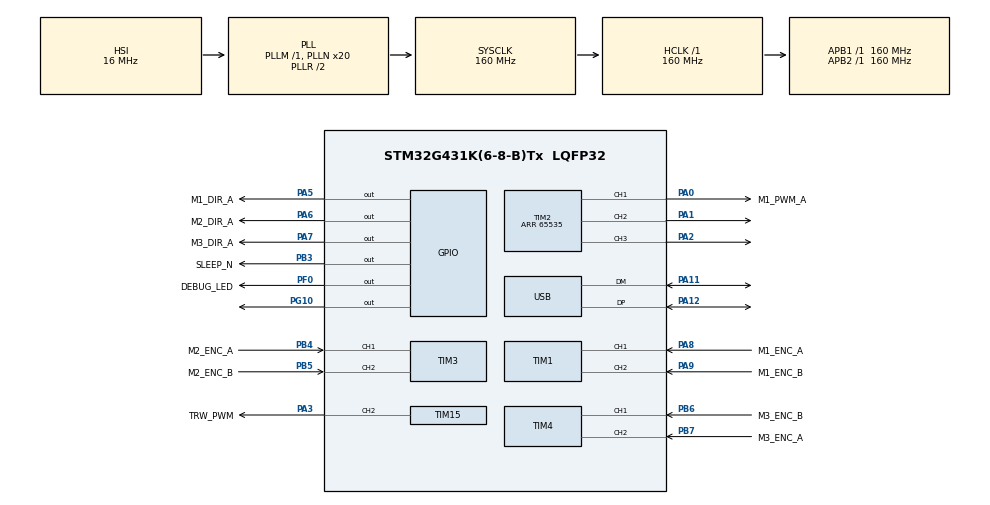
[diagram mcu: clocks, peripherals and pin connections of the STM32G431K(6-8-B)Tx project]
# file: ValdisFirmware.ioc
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Mcu.Family=STM32G4
Mcu.Name=STM32G431K(6-8-B)Tx
Mcu.Package=LQFP32
NVIC.PriorityGroup=NVIC_PRIORITYGROUP_4
NVIC.TIM6_DAC_IRQn=true\:0\:0\:false\:false\:true\:true\:true\:true
NVIC.USB_LP_IRQn=true\:0\:0\:false\:false\:true\:false\:true\:true
PA0.GPIO_Label=M1_PWM_A
PA0.Signal=S_TIM2_CH1
PA1.Signal=S_TIM2_CH2
PA11.Mode=Device
PA11.Signal=USB_DM
PA12.Mode=Device
PA12.Signal=USB_DP
PA13.Mode=Serial_Wire
PA13.Signal=SYS_JTMS-SWDIO
PA14.Mode=Serial_Wire
PA14.Signal=SYS_JTCK-SWCLK
PA2.Signal=S_TIM2_CH3
PA3.GPIO_Label=TRW_PWM
PA3.Signal=S_TIM15_CH2
PA5.GPIO_Label=M1_DIR_A
PA5.Signal=GPIO_Output
PA6.GPIO_Label=M2_DIR_A
PA6.Signal=GPIO_Output
PA7.GPIO_Label=M3_DIR_A
PA7.Signal=GPIO_Output
PA8.GPIO_Label=M1_ENC_A
PA8.Signal=S_TIM1_CH1
PA9.GPIO_Label=M1_ENC_B
PA9.Signal=S_TIM1_CH2
PB3.GPIO_Label=SLEEP_N
PB3.Signal=GPIO_Output
PB4.GPIO_Label=M2_ENC_A
PB4.Signal=S_TIM3_CH1
PB5.GPIO_Label=M2_ENC_B
PB5.Signal=S_TIM3_CH2
PB6.GPIO_Label=M3_ENC_B
PB6.Signal=S_TIM4_CH1
PB7.GPIO_Label=M3_ENC_A
PB7.Signal=S_TIM4_CH2
PF0-OSC_IN.GPIO_Label=DEBUG_LED
PF0-OSC_IN.Signal=GPIO_Output
PG10-NRST.Signal=GPIO_Output
ProjectManager.HeapSize=0x200
ProjectManager.StackSize=0x400
ProjectManager.TargetToolchain=STM32CubeIDE
RCC.ADC12Freq_Value=160000000
RCC.AHBFreq_Value=160000000
RCC.APB1Freq_Value=160000000
RCC.APB1TimFreq_Value=160000000
RCC.APB2Freq_Value=160000000
RCC.APB2TimFreq_Value=160000000
RCC.CK48CLockSelection=RCC_USBCLKSOURCE_HSI48
RCC.CortexFreq_Value=160000000
RCC.EXTERNAL_CLOCK_VALUE=12288000
RCC.HCLKFreq_Value=160000000
RCC.HSE_VALUE=8000000
RCC.HSI48_VALUE=48000000
RCC.HSI_VALUE=16000000
RCC.LSE_VALUE=32768
RCC.PLLN=20
RCC.PLLQ=RCC_PLLQ_DIV4
RCC.SYSCLKFreq_VALUE=160000000
RCC.SYSCLKSource=RCC_SYSCLKSOURCE_PLLCLK
RCC.USBFreq_Value=48000000
RCC.VCOOutputFreq_Value=320000000
SH.S_TIM15_CH2.0=TIM15_CH2,PWM Generation2 CH2
SH.S_TIM1_CH1.0=TIM1_CH1,Encoder_Interface
SH.S_TIM1_CH2.0=TIM1_CH2,Encoder_Interface
SH.S_TIM2_CH1.0=TIM2_CH1,PWM Generation1 CH1
SH.S_TIM2_CH2.0=TIM2_CH2,PWM Generation2 CH2
SH.S_TIM2_CH3.0=TIM2_CH3,PWM Generation3 CH3
SH.S_TIM3_CH1.0=TIM3_CH1,Encoder_Interface
SH.S_TIM3_CH2.0=TIM3_CH2,Encoder_Interface
SH.S_TIM4_CH1.0=TIM4_CH1,Encoder_Interface
SH.S_TIM4_CH2.0=TIM4_CH2,Encoder_Interface
TIM1.EncoderMode=TIM_ENCODERMODE_TI12
TIM15.Channel-PWM\ Generation2\ CH2=TIM_CHANNEL_2
TIM15.PeriodNoDither=63999
TIM15.Prescaler=49
TIM2.Channel-PWM\ Generation1\ CH1=TIM_CHANNEL_1
TIM2.Channel-PWM\ Generation2\ CH2=TIM_CHANNEL_2
TIM2.Channel-PWM\ Generation3\ CH3=TIM_CHANNEL_3
TIM2.OCPolarity_1=TIM_OCPOLARITY_HIGH
TIM2.OCPolarity_2=TIM_OCPOLARITY_HIGH
TIM2.OCPolarity_3=TIM_OCPOLARITY_HIGH
TIM2.PeriodNoDither=65535
TIM3.EncoderMode=TIM_ENCODERMODE_TI12
TIM4.EncoderMode=TIM_ENCODERMODE_TI12
TIM6.PeriodNoDither=63999
TIM6.Prescaler=24
USB_DEVICE.CLASS_NAME_FS=CDC
USB_DEVICE.VirtualMode=Cdc
USB_DEVICE.VirtualModeFS=Cdc_FS
VP_TIM6_VS_ClockSourceINT.Mode=Enable_Timer
VP_USB_DEVICE_VS_USB_DEVICE_CDC_FS.Mode=CDC_FS
board=custom

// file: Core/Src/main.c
/* USER CODE BEGIN Header */
/**
  ******************************************************************************
  * @file           : main.c
  * @brief          : Main program body
  ******************************************************************************
  * @attention
  *
  * Copyright (c) 2022 STMicroelectronics.
  * All rights reserved.
  *
  * This software is licensed under terms that can be found in the LICENSE file
  * in the root directory of this software component.
  * If no LICENSE file comes with this software, it is provided AS-IS.
  *
  ******************************************************************************
  */
/* USER CODE END Header */
#include "main.h"
#include "usb_device.h"

/* USER CODE BEGIN Includes */
#include "usbd_cdc_if.h"
/* USER CODE END Includes */

TIM_HandleTypeDef htim1;
TIM_HandleTypeDef htim2;
TIM_HandleTypeDef htim3;
TIM_HandleTypeDef htim4;
TIM_HandleTypeDef htim6;
TIM_HandleTypeDef htim15;

void SystemClock_Config(void);
static void MX_GPIO_Init(void);
static void MX_TIM1_Init(void);
static void MX_TIM2_Init(void);
static void MX_TIM3_Init(void);
static void MX_TIM4_Init(void);
static void MX_TIM15_Init(void);
static void MX_TIM6_Init(void);

/* USER CODE BEGIN 0 */

typedef struct MotorInfo{
	int16_t speed;
	int16_t position;
	int32_t integraal;
	int16_t p_gain;
	int16_t i_gain;
	int32_t newspeed;
	int16_t positionChange;
} MotorInfo ;

typedef struct Command {
	int16_t speed1;
	int16_t speed2;
	int16_t speed3;
	uint16_t throwerSpeed;
	uint16_t delimiter;
} Command;

typedef struct Feedback {
	int16_t speed1;
	int16_t speed2;
	int16_t speed3;
	uint16_t delimiter;
} Feedback;

MotorInfo M1 = {
		.speed = 0,
		.position = 0,
		.integraal = 0,
		.p_gain = 500,
		.i_gain = 0,
		.newspeed = 0,
		.positionChange = 0
};

MotorInfo M2 = {
		.speed = 0,
		.position = 0,
		.integraal = 0,
		.p_gain = 500,
		.i_gain = 0,
		.newspeed = 0,
		.positionChange = 0
	};

MotorInfo M3 = {
		.speed = 0,
		.position = 0,
		.integraal = 0,
		.p_gain = 500,
		.i_gain = 0,
		.newspeed = 0,
		.positionChange = 0
	};

	Command command = {.speed1 = 0, .speed2 = 0, .speed3 = 0, .throwerSpeed = 0, .delimiter = 0};

	 Feedback feedback = { // (1)
	        .speed1 = 0,
	        .speed2 = 0,
	        .speed3 = 0,
	        .delimiter = 0xAAAA
	    };
	volatile uint8_t isCommandReceived = 0;

	int32_t clmp(int32_t val, int32_t minVal, int32_t maxVal){
		if(val>maxVal){
			return maxVal;
		}
		if(val<minVal){
			return minVal;
		}
		return val;
	};

	int32_t PID(MotorInfo* control, int16_t position){
		control->positionChange = position - control->position;
		control->position = position;
		int32_t error = control->speed -control->positionChange;
		control->integraal += error;
		clmp(control->integraal, -70000 / control->i_gain, 70000 / control->i_gain);

		return control->p_gain * error + control->i_gain * control->integraal;
	}

	void CDC_On_Receive(uint8_t* buffer, uint32_t* length) {
	  if (*length == sizeof(Command)) {
	    memcpy(&command, buffer, sizeof(Command));
	    if (command.delimiter == 0xAAAA) {
	      isCommandReceived = 1;
	    }
	  }
	}

	void toggle_nSleep(){
		HAL_GPIO_WritePin(SLEEP_N_GPIO_Port,SLEEP_N_Pin,0);
		for(int i =0;i<350;i++){
			__asm("nop");
		}
		HAL_GPIO_WritePin(SLEEP_N_GPIO_Port,SLEEP_N_Pin,1);
	}
	void HAL_TIM_PeriodElapsedCallback(TIM_HandleTypeDef *htim6) {
			int16_t pos;

			int32_t pwmValue;

			pos = (int16_t)TIM1->CNT;
			pwmValue = PID(&M1, pos);
			HAL_GPIO_WritePin(M1_DIR_A_GPIO_Port, M1_DIR_A_Pin, (pwmValue < 0) ? GPIO_PIN_SET : GPIO_PIN_RESET);
			TIM2->CCR1 =(uint16_t)clmp((pwmValue < 0) ? -pwmValue : pwmValue, 0 , 65535);

			pos = (int16_t)TIM3->CNT;
			pwmValue = PID(&M2, pos);
			HAL_GPIO_WritePin(M2_DIR_A_GPIO_Port, M2_DIR_A_Pin, (pwmValue < 0) ? GPIO_PIN_SET : GPIO_PIN_RESET);
			TIM2->CCR2 =(uint16_t)clmp((pwmValue < 0) ? -pwmValue : pwmValue, 0 , 65535);

			pos = (int16_t)TIM4->CNT;
			pwmValue = PID(&M3, pos);
			HAL_GPIO_WritePin(M3_DIR_A_GPIO_Port, M3_DIR_A_Pin, (pwmValue < 0) ? GPIO_PIN_SET : GPIO_PIN_RESET);
			TIM2->CCR3 =(uint16_t)clmp((pwmValue < 0) ? -pwmValue : pwmValue, 0 , 65535);

		}
/* USER CODE END 0 */

int main(void)
{

  /* MCU Configuration--------------------------------------------------------*/

  /* Reset of all peripherals, Initializes the Flash interface and the Systick. */
  HAL_Init();

  /* Configure the system clock */
  SystemClock_Config();

  /* Initialize all configured peripherals */
  MX_GPIO_Init();
  MX_USB_Device_Init();
  MX_TIM1_Init();
  MX_TIM2_Init();
  MX_TIM3_Init();
  MX_TIM4_Init();
  MX_TIM15_Init();
  MX_TIM6_Init();
  /* USER CODE BEGIN 2 */

    HAL_TIM_PWM_Start(&htim2, TIM_CHANNEL_1);
    HAL_TIM_PWM_Start(&htim2, TIM_CHANNEL_2);
    HAL_TIM_PWM_Start(&htim2, TIM_CHANNEL_3);

    HAL_TIM_PWM_Start(&htim15, TIM_CHANNEL_2);

    TIM2->CCR1 = 0;
    TIM2->CCR2 = 0;
    TIM2->CCR3 = 0;
    TIM15->CCR2 = 0;

    toggle_nSleep();

    HAL_TIM_Encoder_Start(&htim1, TIM_CHANNEL_1 | TIM_CHANNEL_2);
    HAL_TIM_Encoder_Start(&htim3, TIM_CHANNEL_1 | TIM_CHANNEL_2);
    HAL_TIM_Encoder_Start(&htim4, TIM_CHANNEL_1 | TIM_CHANNEL_2);

        Feedback feedback = {
        	        .speed1 = 0,
        	        .speed2 = 0,
        	        .speed3 = 0,
        	        .delimiter = 0xAAAA
        	    };

    HAL_TIM_Base_Start_IT(&htim6);

  /* USER CODE END 2 */

  /* Infinite loop */
  while (1)
  {

    /* USER CODE BEGIN 3 */

  if (isCommandReceived) {
		isCommandReceived = 0;
		toggle_nSleep();
		HAL_GPIO_TogglePin(DEBUG_LED_GPIO_Port, DEBUG_LED_Pin);

		M1.speed = command.speed1;
		M2.speed = command.speed2;
		M3.speed = command.speed3;

		TIM15->CCR2 = command.throwerSpeed;

		feedback.speed1 = M1.positionChange;
		feedback.speed2 = M2.positionChange;
		feedback.speed3 = M3.positionChange;

		CDC_Transmit_FS(&feedback, sizeof(feedback));
	  }

	}

  /* USER CODE END 3 */
}

void SystemClock_Config(void)
{
  RCC_OscInitTypeDef RCC_OscInitStruct = {0};
  RCC_ClkInitTypeDef RCC_ClkInitStruct = {0};

  /** Configure the main internal regulator output voltage
  */
  HAL_PWREx_ControlVoltageScaling(PWR_REGULATOR_VOLTAGE_SCALE1_BOOST);

  /** Initializes the RCC Oscillators according to the specified parameters
  * in the RCC_OscInitTypeDef structure.
  */
  RCC_OscInitStruct.OscillatorType = RCC_OSCILLATORTYPE_HSI|RCC_OSCILLATORTYPE_HSI48;
  RCC_OscInitStruct.HSIState = RCC_HSI_ON;
  RCC_OscInitStruct.HSICalibrationValue = RCC_HSICALIBRATION_DEFAULT;
  RCC_OscInitStruct.HSI48State = RCC_HSI48_ON;
  RCC_OscInitStruct.PLL.PLLState = RCC_PLL_ON;
  RCC_OscInitStruct.PLL.PLLSource = RCC_PLLSOURCE_HSI;
  RCC_OscInitStruct.PLL.PLLM = RCC_PLLM_DIV1;
  RCC_OscInitStruct.PLL.PLLN = 20;
  RCC_OscInitStruct.PLL.PLLP = RCC_PLLP_DIV2;
  RCC_OscInitStruct.PLL.PLLQ = RCC_PLLQ_DIV4;
  RCC_OscInitStruct.PLL.PLLR = RCC_PLLR_DIV2;
  if (HAL_RCC_OscConfig(&RCC_OscInitStruct) != HAL_OK)
  {
    Error_Handler();
  }

  /** Initializes the CPU, AHB and APB buses clocks
  */
  RCC_ClkInitStruct.ClockType = RCC_CLOCKTYPE_HCLK|RCC_CLOCKTYPE_SYSCLK
                              |RCC_CLOCKTYPE_PCLK1|RCC_CLOCKTYPE_PCLK2;
  RCC_ClkInitStruct.SYSCLKSource = RCC_SYSCLKSOURCE_PLLCLK;
  RCC_ClkInitStruct.AHBCLKDivider = RCC_SYSCLK_DIV1;
  RCC_ClkInitStruct.APB1CLKDivider = RCC_HCLK_DIV1;
  RCC_ClkInitStruct.APB2CLKDivider = RCC_HCLK_DIV1;

  if (HAL_RCC_ClockConfig(&RCC_ClkInitStruct, FLASH_LATENCY_4) != HAL_OK)
  {
    Error_Handler();
  }
}

static void MX_TIM1_Init(void)
{

  TIM_Encoder_InitTypeDef sConfig = {0};
  TIM_MasterConfigTypeDef sMasterConfig = {0};

  htim1.Instance = TIM1;
  htim1.Init.Prescaler = 0;
  htim1.Init.CounterMode = TIM_COUNTERMODE_UP;
  htim1.Init.Period = 65535;
  htim1.Init.ClockDivision = TIM_CLOCKDIVISION_DIV1;
  htim1.Init.RepetitionCounter = 0;
  htim1.Init.AutoReloadPreload = TIM_AUTORELOAD_PRELOAD_DISABLE;
  sConfig.EncoderMode = TIM_ENCODERMODE_TI12;
  sConfig.IC1Polarity = TIM_ICPOLARITY_RISING;
  sConfig.IC1Selection = TIM_ICSELECTION_DIRECTTI;
  sConfig.IC1Prescaler = TIM_ICPSC_DIV1;
  sConfig.IC1Filter = 0;
  sConfig.IC2Polarity = TIM_ICPOLARITY_RISING;
  sConfig.IC2Selection = TIM_ICSELECTION_DIRECTTI;
  sConfig.IC2Prescaler = TIM_ICPSC_DIV1;
  sConfig.IC2Filter = 0;
  if (HAL_TIM_Encoder_Init(&htim1, &sConfig) != HAL_OK)
  {
    Error_Handler();
  }
  sMasterConfig.MasterOutputTrigger = TIM_TRGO_RESET;
  sMasterConfig.MasterOutputTrigger2 = TIM_TRGO2_RESET;
  sMasterConfig.MasterSlaveMode = TIM_MASTERSLAVEMODE_DISABLE;
  if (HAL_TIMEx_MasterConfigSynchronization(&htim1, &sMasterConfig) != HAL_OK)
  {
    Error_Handler();
  }

}

static void MX_TIM2_Init(void)
{

  TIM_MasterConfigTypeDef sMasterConfig = {0};
  TIM_OC_InitTypeDef sConfigOC = {0};

  htim2.Instance = TIM2;
  htim2.Init.Prescaler = 0;
  htim2.Init.CounterMode = TIM_COUNTERMODE_UP;
  htim2.Init.Period = 65535;
  htim2.Init.ClockDivision = TIM_CLOCKDIVISION_DIV1;
  htim2.Init.AutoReloadPreload = TIM_AUTORELOAD_PRELOAD_DISABLE;
  if (HAL_TIM_PWM_Init(&htim2) != HAL_OK)
  {
    Error_Handler();
  }
  sMasterConfig.MasterOutputTrigger = TIM_TRGO_RESET;
  sMasterConfig.MasterSlaveMode = TIM_MASTERSLAVEMODE_DISABLE;
  if (HAL_TIMEx_MasterConfigSynchronization(&htim2, &sMasterConfig) != HAL_OK)
  {
    Error_Handler();
  }
  sConfigOC.OCMode = TIM_OCMODE_PWM1;
  sConfigOC.Pulse = 0;
  sConfigOC.OCPolarity = TIM_OCPOLARITY_HIGH;
  sConfigOC.OCFastMode = TIM_OCFAST_DISABLE;
  if (HAL_TIM_PWM_ConfigChannel(&htim2, &sConfigOC, TIM_CHANNEL_1) != HAL_OK)
  {
    Error_Handler();
  }
  if (HAL_TIM_PWM_ConfigChannel(&htim2, &sConfigOC, TIM_CHANNEL_2) != HAL_OK)
  {
    Error_Handler();
  }
  if (HAL_TIM_PWM_ConfigChannel(&htim2, &sConfigOC, TIM_CHANNEL_3) != HAL_OK)
  {
    Error_Handler();
  }
  HAL_TIM_MspPostInit(&htim2);

}

static void MX_TIM3_Init(void)
{

  TIM_Encoder_InitTypeDef sConfig = {0};
  TIM_MasterConfigTypeDef sMasterConfig = {0};

  htim3.Instance = TIM3;
  htim3.Init.Prescaler = 0;
  htim3.Init.CounterMode = TIM_COUNTERMODE_UP;
  htim3.Init.Period = 65535;
  htim3.Init.ClockDivision = TIM_CLOCKDIVISION_DIV1;
  htim3.Init.AutoReloadPreload = TIM_AUTORELOAD_PRELOAD_DISABLE;
  sConfig.EncoderMode = TIM_ENCODERMODE_TI12;
  sConfig.IC1Polarity = TIM_ICPOLARITY_RISING;
  sConfig.IC1Selection = TIM_ICSELECTION_DIRECTTI;
  sConfig.IC1Prescaler = TIM_ICPSC_DIV1;
  sConfig.IC1Filter = 0;
  sConfig.IC2Polarity = TIM_ICPOLARITY_RISING;
  sConfig.IC2Selection = TIM_ICSELECTION_DIRECTTI;
  sConfig.IC2Prescaler = TIM_ICPSC_DIV1;
  sConfig.IC2Filter = 0;
  if (HAL_TIM_Encoder_Init(&htim3, &sConfig) != HAL_OK)
  {
    Error_Handler();
  }
  sMasterConfig.MasterOutputTrigger = TIM_TRGO_RESET;
  sMasterConfig.MasterSlaveMode = TIM_MASTERSLAVEMODE_DISABLE;
  if (HAL_TIMEx_MasterConfigSynchronization(&htim3, &sMasterConfig) != HAL_OK)
  {
    Error_Handler();
  }

}

static void MX_TIM4_Init(void)
{

  TIM_Encoder_InitTypeDef sConfig = {0};
  TIM_MasterConfigTypeDef sMasterConfig = {0};

  htim4.Instance = TIM4;
  htim4.Init.Prescaler = 0;
  htim4.Init.CounterMode = TIM_COUNTERMODE_UP;
  htim4.Init.Period = 65535;
  htim4.Init.ClockDivision = TIM_CLOCKDIVISION_DIV1;
  htim4.Init.AutoReloadPreload = TIM_AUTORELOAD_PRELOAD_DISABLE;
  sConfig.EncoderMode = TIM_ENCODERMODE_TI12;
  sConfig.IC1Polarity = TIM_ICPOLARITY_RISING;
  sConfig.IC1Selection = TIM_ICSELECTION_DIRECTTI;
  sConfig.IC1Prescaler = TIM_ICPSC_DIV1;
  sConfig.IC1Filter = 0;
  sConfig.IC2Polarity = TIM_ICPOLARITY_RISING;
  sConfig.IC2Selection = TIM_ICSELECTION_DIRECTTI;
  sConfig.IC2Prescaler = TIM_ICPSC_DIV1;
  sConfig.IC2Filter = 0;
  if (HAL_TIM_Encoder_Init(&htim4, &sConfig) != HAL_OK)
  {
    Error_Handler();
  }
  sMasterConfig.MasterOutputTrigger = TIM_TRGO_RESET;
  sMasterConfig.MasterSlaveMode = TIM_MASTERSLAVEMODE_DISABLE;
  if (HAL_TIMEx_MasterConfigSynchronization(&htim4, &sMasterConfig) != HAL_OK)
  {
    Error_Handler();
  }

}

static void MX_TIM6_Init(void)
{

  TIM_MasterConfigTypeDef sMasterConfig = {0};

  htim6.Instance = TIM6;
  htim6.Init.Prescaler = 24;
  htim6.Init.CounterMode = TIM_COUNTERMODE_UP;
  htim6.Init.Period = 63999;
  htim6.Init.AutoReloadPreload = TIM_AUTORELOAD_PRELOAD_DISABLE;
  if (HAL_TIM_Base_Init(&htim6) != HAL_OK)
  {
    Error_Handler();
  }
  sMasterConfig.MasterOutputTrigger = TIM_TRGO_RESET;
  sMasterConfig.MasterSlaveMode = TIM_MASTERSLAVEMODE_DISABLE;
  if (HAL_TIMEx_MasterConfigSynchronization(&htim6, &sMasterConfig) != HAL_OK)
  {
    Error_Handler();
  }

}

static void MX_TIM15_Init(void)
{

  TIM_MasterConfigTypeDef sMasterConfig = {0};
  TIM_OC_InitTypeDef sConfigOC = {0};
  TIM_BreakDeadTimeConfigTypeDef sBreakDeadTimeConfig = {0};

  htim15.Instance = TIM15;
  htim15.Init.Prescaler = 49;
  htim15.Init.CounterMode = TIM_COUNTERMODE_UP;
  htim15.Init.Period = 63999;
  htim15.Init.ClockDivision = TIM_CLOCKDIVISION_DIV1;
  htim15.Init.RepetitionCounter = 0;
  htim15.Init.AutoReloadPreload = TIM_AUTORELOAD_PRELOAD_DISABLE;
  if (HAL_TIM_PWM_Init(&htim15) != HAL_OK)
  {
    Error_Handler();
  }
  sMasterConfig.MasterOutputTrigger = TIM_TRGO_RESET;
  sMasterConfig.MasterSlaveMode = TIM_MASTERSLAVEMODE_DISABLE;
  if (HAL_TIMEx_MasterConfigSynchronization(&htim15, &sMasterConfig) != HAL_OK)
  {
    Error_Handler();
  }
  sConfigOC.OCMode = TIM_OCMODE_PWM1;
  sConfigOC.Pulse = 0;
  sConfigOC.OCPolarity = TIM_OCPOLARITY_HIGH;
  sConfigOC.OCNPolarity = TIM_OCNPOLARITY_HIGH;
  sConfigOC.OCFastMode = TIM_OCFAST_DISABLE;
  sConfigOC.OCIdleState = TIM_OCIDLESTATE_RESET;
  sConfigOC.OCNIdleState = TIM_OCNIDLESTATE_RESET;
  if (HAL_TIM_PWM_ConfigChannel(&htim15, &sConfigOC, TIM_CHANNEL_2) != HAL_OK)
  {
    Error_Handler();
  }
  sBreakDeadTimeConfig.OffStateRunMode = TIM_OSSR_DISABLE;
  sBreakDeadTimeConfig.OffStateIDLEMode = TIM_OSSI_DISABLE;
  sBreakDeadTimeConfig.LockLevel = TIM_LOCKLEVEL_OFF;
  sBreakDeadTimeConfig.DeadTime = 0;
  sBreakDeadTimeConfig.BreakState = TIM_BREAK_DISABLE;
  sBreakDeadTimeConfig.BreakPolarity = TIM_BREAKPOLARITY_HIGH;
  sBreakDeadTimeConfig.BreakFilter = 0;
  sBreakDeadTimeConfig.AutomaticOutput = TIM_AUTOMATICOUTPUT_DISABLE;
  if (HAL_TIMEx_ConfigBreakDeadTime(&htim15, &sBreakDeadTimeConfig) != HAL_OK)
  {
    Error_Handler();
  }
  HAL_TIM_MspPostInit(&htim15);

}

static void MX_GPIO_Init(void)
{
  GPIO_InitTypeDef GPIO_InitStruct = {0};

  /* GPIO Ports Clock Enable */
  __HAL_RCC_GPIOF_CLK_ENABLE();
  __HAL_RCC_GPIOG_CLK_ENABLE();
  __HAL_RCC_GPIOA_CLK_ENABLE();
  __HAL_RCC_GPIOB_CLK_ENABLE();

  /*Configure GPIO pin Output Level */
  HAL_GPIO_WritePin(DEBUG_LED_GPIO_Port, DEBUG_LED_Pin, GPIO_PIN_RESET);

  /*Configure GPIO pin Output Level */
  HAL_GPIO_WritePin(GPIOG, GPIO_PIN_10, GPIO_PIN_RESET);

  /*Configure GPIO pin Output Level */
  HAL_GPIO_WritePin(GPIOA, M1_DIR_A_Pin|M2_DIR_A_Pin|M3_DIR_A_Pin, GPIO_PIN_RESET);

  /*Configure GPIO pin Output Level */
  HAL_GPIO_WritePin(SLEEP_N_GPIO_Port, SLEEP_N_Pin, GPIO_PIN_RESET);

  /*Configure GPIO pin : DEBUG_LED_Pin */
  GPIO_InitStruct.Pin = DEBUG_LED_Pin;
  GPIO_InitStruct.Mode = GPIO_MODE_OUTPUT_PP;
  GPIO_InitStruct.Pull = GPIO_NOPULL;
  GPIO_InitStruct.Speed = GPIO_SPEED_FREQ_LOW;
  HAL_GPIO_Init(DEBUG_LED_GPIO_Port, &GPIO_InitStruct);

  /*Configure GPIO pin : PG10 */
  GPIO_InitStruct.Pin = GPIO_PIN_10;
  GPIO_InitStruct.Mode = GPIO_MODE_OUTPUT_PP;
  GPIO_InitStruct.Pull = GPIO_NOPULL;
  GPIO_InitStruct.Speed = GPIO_SPEED_FREQ_LOW;
  HAL_GPIO_Init(GPIOG, &GPIO_InitStruct);

  /*Configure GPIO pins : M1_DIR_A_Pin M2_DIR_A_Pin M3_DIR_A_Pin */
  GPIO_InitStruct.Pin = M1_DIR_A_Pin|M2_DIR_A_Pin|M3_DIR_A_Pin;
  GPIO_InitStruct.Mode = GPIO_MODE_OUTPUT_PP;
  GPIO_InitStruct.Pull = GPIO_NOPULL;
  GPIO_InitStruct.Speed = GPIO_SPEED_FREQ_LOW;
  HAL_GPIO_Init(GPIOA, &GPIO_InitStruct);

  /*Configure GPIO pin : SLEEP_N_Pin */
  GPIO_InitStruct.Pin = SLEEP_N_Pin;
  GPIO_InitStruct.Mode = GPIO_MODE_OUTPUT_PP;
  GPIO_InitStruct.Pull = GPIO_NOPULL;
  GPIO_InitStruct.Speed = GPIO_SPEED_FREQ_LOW;
  HAL_GPIO_Init(SLEEP_N_GPIO_Port, &GPIO_InitStruct);

}

void Error_Handler(void)
{
  __disable_irq();
  while (1)
  {
  }
}
